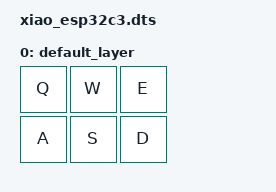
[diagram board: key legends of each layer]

/ {
    chosen {
        zmk,kscan = &kscan0;
    };

    kscan0: kscan {
        compatible = "zmk,kscan-gpio-matrix";
        diode-direction = "col2row";

        row-gpios = <&gpio0 2 GPIO_ACTIVE_LOW>,
                    <&gpio0 3 GPIO_ACTIVE_LOW>;

        col-gpios = <&gpio0 4 GPIO_ACTIVE_LOW>,
                    <&gpio0 5 GPIO_ACTIVE_LOW>,
                    <&gpio0 6 GPIO_ACTIVE_LOW>;
    };

    keymap {
        compatible = "zmk,keymap";

        default_layer {
            bindings = <
                &kp Q  &kp W  &kp E
                &kp A  &kp S  &kp D
            >;
        };
    };
};
